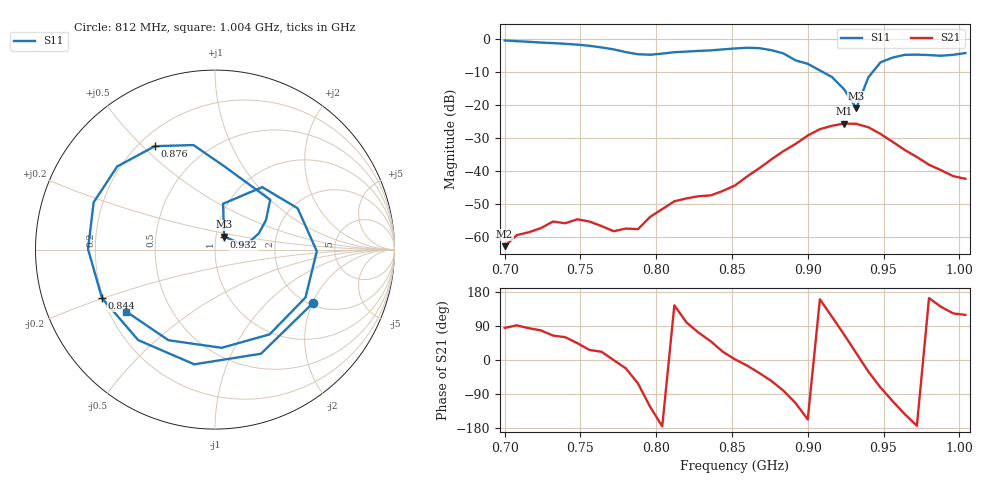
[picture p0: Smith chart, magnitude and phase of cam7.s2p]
# Hz S RI R 50
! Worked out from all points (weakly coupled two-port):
!   39 points, 700 MHz to 1.004 GHz, reference 50 ohm
!   highest |S21| = -25.75 dB at 924 MHz (marker M1); lowest = -62.9 dB at 700 MHz (marker M2)
!   lowest |S11| = -21.1 dB at 932 MHz (marker M3), VSWR 1.19, Z = 54.8 + j7.92 ohm
!   |S11| at or under -10 dB: 909.3 MHz to 943.1 MHz (33.71 MHz wide, 3.64 % of centre)
!   S12 and S22 are empty: the file has one direction only
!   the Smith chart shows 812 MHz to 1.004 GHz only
!   S11 on the Smith chart (normalised r, x): 812 MHz: 2.07, -2.01; 844 MHz: 0.19, -0.20; 876 MHz: 0.26, +0.55; 932 MHz: 1.10, +0.16; 1.004 GHz: 0.27, -0.29
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7e8  0.7673 0.5345  6.72e-05 0.000716  0 0  0 0
7.24e8  0.8306 -0.256  0.00028 0.00132  0 0  0 0
7.4e8  0.4453 -0.7037  0.000795 0.00139  0 0  0 0
7.56e8  -0.2003 -0.75  0.00152 0.000759  0 0  0 0
7.72e8  -0.6578 -0.1905  0.00121 -9.43e-06  0 0  0 0
7.8e8  -0.5788 0.2289  0.00123 -0.000501  0 0  0 0
7.88e8  -0.2278 0.5316  0.000613 -0.00115  0 0  0 0
7.96e8  0.258 0.5062  -0.0011 -0.00166  0 0  0 0
8.04e8  0.5711 0.1521  -0.00261 -0.000223  0 0  0 0
8.12e8  0.5444 -0.299  -0.00279 0.00201  0 0  0 0
8.28e8  -0.1155 -0.6392  0.00126 0.0039  0 0  0 0
8.44e8  -0.6299 -0.2696  0.00459 0.00181  0 0  0 0
8.52e8  -0.7074 0.0029  0.00596 0.000175  0 0  0 0
8.76e8  -0.3348 0.5763  0.00845 -0.0122  0 0  0 0
9e8  0.3076 0.2775  -0.0313 -0.0133  0 0  0 0
9.08e8  0.2842 0.1652  -0.04 0.0144  0 0  0 0
9.24e8  0.1685 0.0227  0.0202 0.0475  0 0  0 0
9.32e8  0.051 0.0717  0.0486 0.0159  0 0  0 0
9.4e8  0.0449 0.2554  0.039 -0.0232  0 0  0 0
9.56e8  0.4606 0.23  -0.00879 -0.0259  0 0  0 0
9.8e8  0.3038 -0.4725  -0.0118 0.0035  0 0  0 0
1.004e9  -0.4937 -0.3457  -0.00365 0.00659  0 0  0 0
